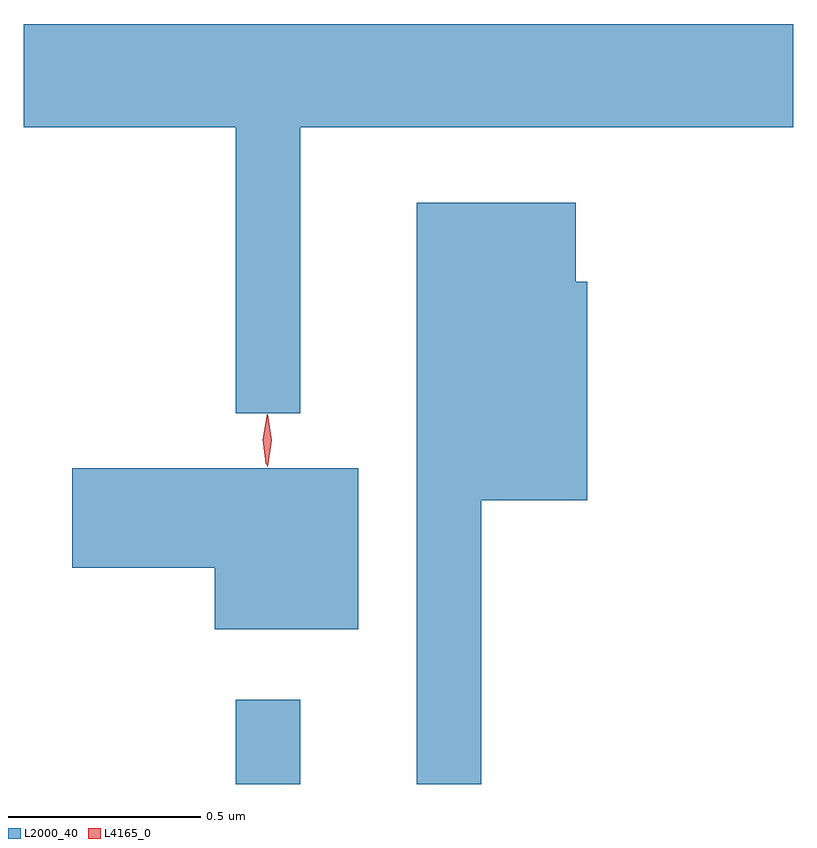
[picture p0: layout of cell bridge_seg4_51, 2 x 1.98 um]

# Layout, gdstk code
import gdstk
lib = gdstk.Library(unit=1e-6, precision=1e-09)
def R(c, l, rs):  # rectangles x0, y0, x1, y1
    for r in rs: c.add(gdstk.rectangle(r[:2], r[2:], *l))
def P(c, l, *ps):  # polygons
    for p in ps: c.add(gdstk.Polygon(p, *l))
L2000_40 = (2000, 40)
L4165_0 = (4165, 0)

bridge_seg4_51 = lib.new_cell('bridge_seg4_51')
R(bridge_seg4_51, L2000_40, [(1325.351,1277.489,1325.519,1277.708)])
P(bridge_seg4_51, L2000_40, [(1325.519,1279.196),(1326.8,1279.196),(1326.8,1279.464),(1324.8,1279.464),(1324.8,1279.196),(1325.351,1279.196),(1325.351,1278.453),(1325.519,1278.453)],
  [(1325.989,1278.226),(1326.264,1278.226),(1326.264,1278.794),(1326.234,1278.794),(1326.234,1278.999),(1325.821,1278.999),(1325.821,1277.489),(1325.989,1277.489)],
  [(1325.669,1278.309),(1324.926,1278.309),(1324.926,1278.051),(1325.296,1278.051),(1325.296,1277.891),(1325.669,1277.891)])
P(bridge_seg4_51, L4165_0, [(1325.433,1278.314),(1325.424,1278.382),(1325.433,1278.45),(1325.434,1278.45),(1325.434,1278.45),(1325.444,1278.382),(1325.434,1278.314),(1325.434,1278.314)],
  [(1325.43,1278.32),(1325.429,1278.321),(1325.421,1278.384),(1325.431,1278.446),(1325.432,1278.447),(1325.432,1278.446),(1325.441,1278.384),(1325.43,1278.321)])

lib.write_gds('bridge_seg4_51.gds')
